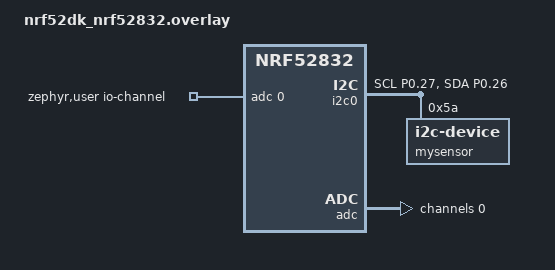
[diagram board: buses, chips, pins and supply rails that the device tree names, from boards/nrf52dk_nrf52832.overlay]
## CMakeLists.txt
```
#
# Copyright (c) 2016 Intel Corporation
#
# SPDX-License-Identifier: Apache-2.0
#

cmake_minimum_required(VERSION 3.20.0)
find_package(Zephyr REQUIRED HINTS $ENV{ZEPHYR_BASE})
project(nrf_connect_sdk_fundamentals)

target_sources(app PRIVATE 
    src/main.c
    src/lps28.c
    src/MLX90614.c)
```

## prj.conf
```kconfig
#
# Copyright (c) 2016 Intel Corporation
#
# SPDX-License-Identifier: Apache-2.0
#

# STEP 2 - Enable the I2C driver
CONFIG_I2C=y
# STEP 4.2 - Enable floating point format specifiers
CONFIG_CBPRINTF_FP_SUPPORT=y

CONFIG_SERIAL=y
#CONFIG_NEWLIB_LIBC=y
#CONFIG_NEWLIB_LIBC_FLOAT_PRINTF=y
CONFIG_ADC=y
```

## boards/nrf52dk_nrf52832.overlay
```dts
// To get started, press Ctrl+Space to bring up the completion menu and view the available nodes.
// For more help, browse the DeviceTree documentation at https://docs.zephyrproject.org/latest/guides/dts/index.html

&i2c0 {
    status = "okay";
    pinctrl-0 = <&i2c0_default>;
	pinctrl-1 = <&i2c0_sleep>;
    pinctrl-names = "default", "sleep";
    mysensor: mysensor@5A{
        compatible = "i2c-device";
        status = "okay";
        reg = < 0x5A >;
        zephyr,deferred-init;
    };
};

&pinctrl {
	/omit-if-no-ref/ i2c0_default: i2c0_default {
		group1  {
			psels = <NRF_PSEL(TWIM_SCL, 0, 27)>,
					<NRF_PSEL(TWIM_SDA, 0, 26)>;
		};
	};

	/omit-if-no-ref/ i2c0_sleep: i2c0_sleep {
		group1  {
			psels = <NRF_PSEL(TWIM_SCL, 0, 27)>,
					<NRF_PSEL(TWIM_SDA, 0, 26)>;
			low-power-enable;
		};
	};
};

/ {
	zephyr,user {
		io-channels = <&adc 0>;
	};
};

&adc {
	#address-cells = <1>;
	#size-cells = <0>;
	status = "okay";
	channel@0 {
		reg = <0>;
		zephyr,gain = "ADC_GAIN_1_6";
		zephyr,reference = "ADC_REF_INTERNAL";
		zephyr,acquisition-time = <ADC_ACQ_TIME_DEFAULT>;
		zephyr,input-positive = <NRF_SAADC_AIN0>; /* P0.02 for nRF52xx, P0.04 for nRF5340 */
		zephyr,resolution = <12>;
	};
};
```

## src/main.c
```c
#include <zephyr/kernel.h>
#include <zephyr/sys/printk.h>
#include <zephyr/drivers/adc.h>
#include "MLX90614.h"

static const struct adc_dt_spec adc_channel = ADC_DT_SPEC_GET(DT_PATH(zephyr_user));

int main(void)
{
    struct mlx90614_data data;

    int err;
	uint32_t count = 0;

	/* Define a variable of type adc_sequence and a buffer of type uint16_t */
	int16_t buf;
	struct adc_sequence sequence = {
		.buffer = &buf,
		/* buffer size in bytes, not number of samples */
		.buffer_size = sizeof(buf),
		// Optional
		//.calibrate = true,
	};

	/* Validate that the ADC peripheral (SAADC) is ready */
	if (!adc_is_ready_dt(&adc_channel)) {
		printk("ADC controller devivce %s not ready", adc_channel.dev->name);
		return 0;
	}
	/* Setup the ADC channel */
	err = adc_channel_setup_dt(&adc_channel);
	if (err < 0) {
		printk("Could not setup channel #%d (%d)", 0, err);
		return 0;
	}
	/* Initialize the ADC sequence */
	err = adc_sequence_init_dt(&adc_channel, &sequence);
	if (err < 0) {
		printk("Could not initalize sequnce");
		return 0;
	}


    // Leaf IR Init
    if (mlx90614_init() != 0) {
        printk("MLX90614 init failed\n");
        return 0;
    }
    printk("MLX90614 Sensor Successfully Initialized\n");


    while (1) {
        if (mlx90614_fetch(&data) == 0) {
            /* cast float→double to match printf’s expected varargs */
            printk("Ambient: %.2f °C, Object: %.2f °C\n",
                   (double)data.ambient,
                   (double)data.object);
        } else {
            printk("\nSensor read error\n");
        }
        k_msleep(2000);
        
        int val_mv;

		/* Read a sample from the ADC */
		err = adc_read(adc_channel.dev, &sequence);
		if (err < 0) {
			printk("Could not read (%d)", err);
			continue;
		}

		val_mv = (int)buf;
		printk("ADC reading[%u]: %s, channel %d: Raw: %d", count++, adc_channel.dev->name,
			adc_channel.channel_id, val_mv);

		/* Convert raw value to mV*/
		err = adc_raw_to_millivolts_dt(&adc_channel, &val_mv);
		/* conversion to mV may not be supported, skip if not */
		if (err < 0) {
			printk(" (value in mV not available)\n");
		} else {
			printk(" = %d mV", val_mv);
		}

		k_sleep(K_MSEC(1000));

    }
    return 0;
}
```

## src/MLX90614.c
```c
#include "MLX90614.h"
#include <zephyr/logging/log.h>
//#include <zephyr/sys/printk.h>
#include <zephyr/device.h>
#include <zephyr/drivers/i2c.h>
#include <zephyr/kernel.h>

LOG_MODULE_REGISTER(mlx90614, CONFIG_LOG_DEFAULT_LEVEL);

/* MLX90614 I2C address is defined in dev_i2c */
/* MLX90614 RAM registers */
#define MLX90614_TA       0x06
#define MLX90614_TOBJ1    0x07

#define I2C_NODE DT_NODELABEL(mysensor)
static const struct i2c_dt_spec dev_i2c = I2C_DT_SPEC_GET(I2C_NODE);

/* --------------------------------------------------------------------------
 * Public API
 * -------------------------------------------------------------------------- */

int mlx90614_init(void)
{
    if (!device_is_ready(dev_i2c.bus)) {
        LOG_ERR("I2C bus %s not ready", dev_i2c.bus->name);
        return -ENODEV;
    }
    LOG_INF("MLX90614 init on bus %s", dev_i2c.bus->name);
    return 0;
}

int mlx90614_fetch(struct mlx90614_data *data)
{
    if (!data) {
        return -EINVAL;
    }

    uint8_t buf[3];
    uint16_t raw;
    int ret;

    /* --- Read ambient temperature (TA) --- */
    ret = i2c_burst_read_dt(&dev_i2c, MLX90614_TA, buf, sizeof(buf));
    if (ret) {
        LOG_ERR("Ambient read failed (%d)", ret);
        return -EIO;
    }
    raw = (uint16_t)buf[1] << 8 | buf[0];
    if (raw == 0) {
        LOG_ERR("Ambient raw == 0, invalid");
        return -EIO;
    }
    data->ambient = raw * 0.02 - 273.15;

    /* --- Read object temperature (TOBJ1) --- */
    ret = i2c_burst_read_dt(&dev_i2c, MLX90614_TOBJ1, buf, sizeof(buf));
    if (ret) {
        LOG_ERR("Object read failed (%d)", ret);
        return -EIO;
    }
    raw = (uint16_t)buf[1] << 8 | buf[0];
    if (raw == 0) {
        LOG_ERR("Object raw == 0, invalid");
        return -EIO;
    }
    data->object = raw * 0.02 - 273.15;

    return 0;
}
```

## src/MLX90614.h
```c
/* MLX90614.h */
#ifndef MLX90614_H_
#define MLX90614_H_

#include <zephyr/types.h>

#ifdef __cplusplus
extern "C" {
#endif

/* Returned data struct */
struct mlx90614_data {
    double ambient;   /* °C */
    double object;    /* °C */
};

/**
 * @brief Initialize MLX90614 driver
 *
 * @return 0 on success, -ENODEV if I2C bus not ready
 */
int mlx90614_init(void);

/**
 * @brief Read ambient and object temperatures
 *
 * @param data Pointer to struct to hold results
 * @return 0 on success, -EINVAL if data==NULL,
 *         -EIO on I2C error or invalid raw reading
 */
int mlx90614_fetch(struct mlx90614_data *data);

#ifdef __cplusplus
}
#endif

#endif /* MLX90614_H_ */
```

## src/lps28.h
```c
#ifndef _LPS28_H_
#define _LPS28_H_

#include <zephyr/types.h>

#ifdef __cplusplus
extern "C" {
#endif

/* 
 * This struct holds both temperature (°C) and pressure (hPa). 
 */
struct lps28_data {
    float temp_c;
    float press_hpa;
};

/* 
 * Initialize the LPS28 sensor over I²C.
 * Returns 0 on success, or a negative error code.
 */
int lps28_init(void);

/*
 * Trigger a one‐shot measurement, wait for data ready,
 * read raw temperature + pressure, convert to floats, and
 * write into *data. 
 *
 * Returns 0 on success, or a negative error code.
 */
int lps28_fetch(struct lps28_data *data);

#ifdef __cplusplus
}
#endif

#endif /* _LPS28_H_ */
```
